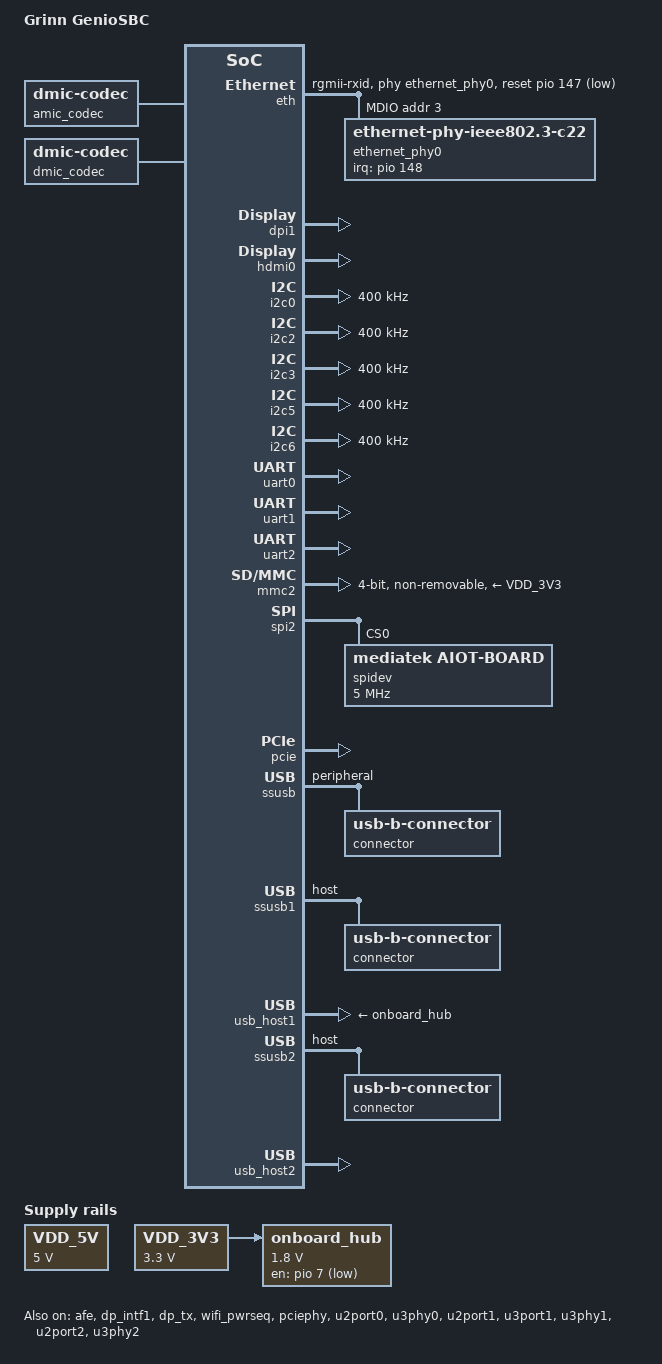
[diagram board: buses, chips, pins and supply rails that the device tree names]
// SPDX-License-Identifier: (GPL-2.0 OR MIT)
/*
 * Copyright (C) 2025 Grinn sp. z o.o..
 * Author: Grzegorz Runc <grzegorz.runc@grinn-global.com>
 */

#include <dt-bindings/usb/pd.h>

/ {
	model = "Grinn GenioSBC";

	aliases {
		serial0 = &uart0;
		ethernet0 = &eth;
	};

	chosen {
		stdout-path = "serial0:921600n8";
	};

	onboard_hub: regulator@5 {
		compatible = "regulator-fixed";
		regulator-name = "hub_reset";
		regulator-min-microvolt = <1800000>;
		regulator-max-microvolt = <1800000>;
		gpio = <&pio 7 0>; /* HUB_RESET */
		vin-supply = <&VDD_3V3>;
		enable-active-low;
	};

	VDD_5V: VDD-5V {
		compatible = "regulator-fixed";
		regulator-name = "VDD-5V";
		regulator-min-microvolt = <5000000>;
		regulator-max-microvolt = <5000000>;
		regulator-always-on;
	};

	VDD_3V3: VDD-3V3 {
		compatible = "regulator-fixed";
		regulator-name = "VDD-3V3";
		regulator-min-microvolt = <3300000>;
		regulator-max-microvolt = <3300000>;
		regulator-always-on;
	};

	amic_codec: amic-codec {
		#sound-dai-cells = <0>;
		compatible = "dmic-codec";
		num-channels = <2>;
		wakeup-delay-ms = <200>;
	};

	dmic_codec: dmic-codec {
		#sound-dai-cells = <0>;
		compatible = "dmic-codec";
		num-channels = <2>;
		wakeup-delay-ms = <30>;
	};	
};

&afe {
	memory-region = <&afe_dma_mem_reserved>;
	#sound-dai-cells = <0>;
	mediatek,dmic-iir-on;
	mediatek,dmic-clk-mono;
	status = "okay";
};

&adsp {
	memory-region = <&adsp_dma_mem_reserved>,
		<&adsp_mem_reserved>;
};

&eth {
	mediatek,mac-wol;
	phy-mode ="rgmii-rxid";
	phy-handle = <&ethernet_phy0>;
	snps,reset-gpio = <&pio 147 GPIO_ACTIVE_HIGH>;
	snps,reset-active-low;
	snps,reset-delays-us = <0 11000 200000>;
	mediatek,tx-delay-ps = <2030>;
	pinctrl-names = "default", "sleep";
	pinctrl-0 = <&eth_default_pins>;
	pinctrl-1 = <&eth_sleep_pins>;
	status = "okay";

	mdio {
		compatible = "snps,dwmac-mdio";
		#address-cells = <1>;
		#size-cells = <0>;
		ethernet_phy0: ethernet-phy@3 {
			reg = <3>;
			compatible = "ethernet-phy-ieee802.3-c22";
			eee-broken-1000t;
			interrupts-extended = <&pio 148 IRQ_TYPE_LEVEL_LOW>;
		};
	};
};

&dp_intf1 {
	status = "okay";
	mediatek,oob-hpd;

	ports {
		port {
			dp_intf1_out: endpoint {
				remote-endpoint = <&dptx_in>;
			};
		};
	};
};

&dp_tx {
	pinctrl-names = "default";
	pinctrl-0 = <&dptx_pin>;
	status = "okay";

	ports {
		#address-cells = <1>;
		#size-cells = <0>;
		port {
			dptx_in: endpoint {
				remote-endpoint = <&dp_intf1_out>;
			};
		};
	};
};

&dpi1 {
	status = "okay";
};

&hdmi0 {
	status = "okay";
};

&dsi0 {
	status = "disabled";
};

&mipi_tx0 {
	status = "disabled";
};

&pio {
	gpio-line-names =
		"RPI_GPIO0", "RPI_GPIO1", "", "", "RPI_GPIO4", "", "RPI_GPIO6", "",	// 0 - 7,
		"", "RPI_GPIO9", "RPI_GPIO10", "RPI_GPIO11", "", "", "", "",		// 8 - 15,
		"", "", "", "", "", "RPI_GPIO21", "", "RPI_GPIO23",			// 16 - 23,
		"", "", "", "", "", "", "RPI_PWM1", "",					// 24 - 31,
		"", "", "", "RPI_UTXD2", "RPI_URXD2", "", "", "",			// 32 - 39,
		"", "", "", "", "", "", "", "",						// 40 - 47,
		"", "", "", "", "", "", "", "RPI_SCL0",					// 48 - 55,
		"RPI_SDA0", "", "", "RPI_SCL2", "RPI_SDA2", "", "", "",			// 56 - 63,
		"", "", "", "", "", "RPI_GPIO69", "", "",				// 64 - 71,
		"RPI_GPIO72", "RPI_GPIO73", "RPI_GPIO74", "", "", "", "", "RPI_SPI_CS", // 72 - 79,
		"RPI_SPI_CLK", "RPI_SPI_MO", "RPI_SPI_MI", "", "", "", "", "",		// 80 - 87,
		"", "", "", "", "", "", "", "",						// 88 - 95,
		"", "", "", "", "", "", "", "",						// 96 - 103,
		"", "", "", "", "", "", "", "",						// 104 - 111,
		"", "", "", "", "", "", "", "",						// 112 - 119,
		"", "RPI_PCM_CLK", "RPI_PCM_SYNC", "RPI_PCM_DO", "RPI_PCM_DI", "", "", ""; // 120 - 127,

	aud_pins_default: audiodefault {
		pins-cmd-dat {
			pinmux = <PINMUX_GPIO101__FUNC_O_AUD_CLK_MOSI>,
				 <PINMUX_GPIO102__FUNC_O_AUD_SYNC_MOSI>,
				 <PINMUX_GPIO103__FUNC_O_AUD_DAT_MOSI0>,
				 <PINMUX_GPIO104__FUNC_O_AUD_DAT_MOSI1>,
				 <PINMUX_GPIO105__FUNC_I0_AUD_DAT_MISO0>,
				 <PINMUX_GPIO106__FUNC_I0_AUD_DAT_MISO1>,
				 <PINMUX_GPIO121__FUNC_B0_PCM_CLK>,
				 <PINMUX_GPIO122__FUNC_B0_PCM_SYNC>,
				 <PINMUX_GPIO123__FUNC_O_PCM_DO>,
				 <PINMUX_GPIO124__FUNC_I0_PCM_DI>;
		};
		pins-force-gpio-out {
			pinmux = <PINMUX_GPIO167__FUNC_B_GPIO167>;
			input-disable;
			bias-disable;
		};
	};

	dptx_pin: dptx-pin {
		pins-cmd-dat {
			pinmux = <PINMUX_GPIO46__FUNC_I0_DP_TX_HPD>;
			bias-pull-up;
		};
	};

	eth_default_pins: eth-default-pins {
		pins-txd {
			pinmux = <PINMUX_GPIO131__FUNC_O_GBE_TXD3>,
				 <PINMUX_GPIO132__FUNC_O_GBE_TXD2>,
				 <PINMUX_GPIO133__FUNC_O_GBE_TXD1>,
				 <PINMUX_GPIO134__FUNC_O_GBE_TXD0>;
			drive-strength = <MTK_DRIVE_8mA>;
		};
		pins-cc {
			pinmux = <PINMUX_GPIO139__FUNC_B0_GBE_TXC>,
				 <PINMUX_GPIO142__FUNC_O_GBE_TXEN>,
				 <PINMUX_GPIO141__FUNC_I0_GBE_RXDV>;
			drive-strength = <MTK_DRIVE_8mA>;
		};
		pins-rxd {
			pinmux = <PINMUX_GPIO135__FUNC_I0_GBE_RXD3>,
				 <PINMUX_GPIO136__FUNC_I0_GBE_RXD2>,
				 <PINMUX_GPIO137__FUNC_I0_GBE_RXD1>,
				 <PINMUX_GPIO138__FUNC_I0_GBE_RXD0>,
				 <PINMUX_GPIO140__FUNC_I0_GBE_RXC>;
			drive-strength = <MTK_DRIVE_8mA>;
			bias-pull-up = <MTK_PUPD_SET_R1R0_10>;
		};
		pins-mdio {
			pinmux = <PINMUX_GPIO143__FUNC_O_GBE_MDC>,
				 <PINMUX_GPIO144__FUNC_B1_GBE_MDIO>;
			drive-strength = <MTK_DRIVE_8mA>;
			input-enable;
		};
		pins-power {
			pinmux = <PINMUX_GPIO145__FUNC_B_GPIO145>,
				 <PINMUX_GPIO146__FUNC_B_GPIO146>,
				 <PINMUX_GPIO147__FUNC_B_GPIO147>;
			output-high;
		};
		pins-intr {
			pinmux = <PINMUX_GPIO148__FUNC_B_GPIO148>; /* GPIRQ_EQOS_PHY */
			bias-pull-up = <MTK_PUPD_SET_R1R0_10>;
			input-enable;
		};
	};

	eth_sleep_pins: eth-sleep-pins {
		pins-txd {
			pinmux = <PINMUX_GPIO131__FUNC_B_GPIO131>,
				 <PINMUX_GPIO132__FUNC_B_GPIO132>,
				 <PINMUX_GPIO133__FUNC_B_GPIO133>,
				 <PINMUX_GPIO134__FUNC_B_GPIO134>;
		};
		pins-cc {
			pinmux = <PINMUX_GPIO139__FUNC_B_GPIO139>,
				 <PINMUX_GPIO142__FUNC_B_GPIO142>,
				 <PINMUX_GPIO141__FUNC_B_GPIO141>,
				 <PINMUX_GPIO140__FUNC_B_GPIO140>;
		};
		pins-rxd {
			pinmux = <PINMUX_GPIO135__FUNC_B_GPIO135>,
				 <PINMUX_GPIO136__FUNC_B_GPIO136>,
				 <PINMUX_GPIO137__FUNC_B_GPIO137>,
				 <PINMUX_GPIO138__FUNC_B_GPIO138>;
		};
		pins-mdio {
			pinmux = <PINMUX_GPIO143__FUNC_B_GPIO143>,
				 <PINMUX_GPIO144__FUNC_B_GPIO144>;
			input-disable;
			bias-disable;
		};
	};

	uart0_pins: uart0-pins {
		pins {
			pinmux = <PINMUX_GPIO31__FUNC_O_UTXD0>,
				 <PINMUX_GPIO32__FUNC_I1_URXD0>;
			bias-pull-up;
		};
	};

	uart1_pins: uart1-pins {
		pins {
			pinmux = <PINMUX_GPIO86__FUNC_O_UTXD1>,
				 <PINMUX_GPIO87__FUNC_I1_URXD1>,
				 <PINMUX_GPIO88__FUNC_O_URTS1>,
				 <PINMUX_GPIO89__FUNC_I1_UCTS1>;
			bias-pull-up;
		};
	};

	uart2_pins: uart2-pins {
		pins {
			pinmux = <PINMUX_GPIO35__FUNC_O_UTXD2>,
				 <PINMUX_GPIO36__FUNC_I1_URXD2>;
			bias-pull-up;
		};
	};

	i2c0_pin: i2c0-pin {
		pins-bus {
			pinmux = <PINMUX_GPIO56__FUNC_B1_SDA0>,
				 <PINMUX_GPIO55__FUNC_B1_SCL0>;
			bias-pull-up = <MTK_PULL_SET_RSEL_011>;
			mediatek,drive-strength-adv = <7>;
		};
	};

	i2c2_pin: i2c2-pin {
		pins-bus {
			pinmux = <PINMUX_GPIO60__FUNC_B1_SDA2>,
				 <PINMUX_GPIO59__FUNC_B1_SCL2>;
			bias-pull-up = <MTK_PULL_SET_RSEL_011>;
			mediatek,drive-strength-adv = <7>;
		};
	};

	i2c3_pin: i2c3-pin {
		pins-bus {
			pinmux = <PINMUX_GPIO62__FUNC_B1_SDA3>,
				 <PINMUX_GPIO61__FUNC_B1_SCL3>;
			bias-pull-up = <MTK_PULL_SET_RSEL_011>;
			mediatek,drive-strength-adv = <7>;
		};
	};

	i2c5_pin: i2c5-pin {
		pins-bus {
			pinmux = <PINMUX_GPIO66__FUNC_B1_SDA5>,
				 <PINMUX_GPIO65__FUNC_B1_SCL5>;
			bias-pull-up = <MTK_PULL_SET_RSEL_011>;
			mediatek,drive-strength-adv = <7>;
		};
	};

	i2c6_pin: i2c6-pin {
		pins-bus {
			pinmux = <PINMUX_GPIO68__FUNC_B1_SDA6>,
				 <PINMUX_GPIO67__FUNC_B1_SCL6>;
			bias-pull-up = <MTK_PULL_SET_RSEL_011>;
			mediatek,drive-strength-adv = <7>;
		};
	};

	mmc2_pins_default: mmc2default {
		pins-clk {
			pinmux = <PINMUX_GPIO170__FUNC_B1_MSDC2_CLK>;
			drive-strength = <MTK_DRIVE_4mA>;
			bias-pull-down = <MTK_PUPD_SET_R1R0_10>;
		};

		pins-cmd-dat {
			pinmux = <PINMUX_GPIO169__FUNC_B1_MSDC2_CMD>,
				 <PINMUX_GPIO171__FUNC_B1_MSDC2_DAT0>,
				 <PINMUX_GPIO172__FUNC_B1_MSDC2_DAT1>,
				 <PINMUX_GPIO173__FUNC_B1_MSDC2_DAT2>,
				 <PINMUX_GPIO174__FUNC_B1_MSDC2_DAT3>;
			input-enable;
			drive-strength = <MTK_DRIVE_6mA>;
			bias-pull-up = <MTK_PUPD_SET_R1R0_01>;
		};
	};

	mmc2_pins_uhs: mmc2uhs {
		pins-clk {
			pinmux = <PINMUX_GPIO170__FUNC_B1_MSDC2_CLK>;
			drive-strength = <MTK_DRIVE_4mA>;
			bias-pull-down = <MTK_PUPD_SET_R1R0_10>;
		};

		pins-cmd-dat {
			pinmux = <PINMUX_GPIO169__FUNC_B1_MSDC2_CMD>,
				 <PINMUX_GPIO171__FUNC_B1_MSDC2_DAT0>,
				 <PINMUX_GPIO172__FUNC_B1_MSDC2_DAT1>,
				 <PINMUX_GPIO173__FUNC_B1_MSDC2_DAT2>,
				 <PINMUX_GPIO174__FUNC_B1_MSDC2_DAT3>;
			input-enable;
			drive-strength = <MTK_DRIVE_6mA>;
			bias-pull-up = <MTK_PUPD_SET_R1R0_01>;
		};
	};

	mmc2_pins_eint: dat1-eint {
		pins-dat1 {
			pinmux = <PINMUX_GPIO172__FUNC_B_GPIO172>;
			input-enable;
			bias-pull-up = <MTK_PUPD_SET_R1R0_01>;
		};
	};

	mmc2_pins_dat1: sdio-dat1 {
		pins-dat1 {
			pinmux = <PINMUX_GPIO172__FUNC_B1_MSDC2_DAT1>;
			input-enable;
			drive-strength = <MTK_DRIVE_6mA>;
			bias-pull-up = <MTK_PUPD_SET_R1R0_01>;
		};
	};

	wifi_pins_pwrseq: wifipwrseq {
		pins-wifi-enable {
			pinmux = <PINMUX_GPIO127__FUNC_B_GPIO127>;
			output-low;
		};
	};

	spi2_pins: spi2-pins {
		pins-spi {
			pinmux = <PINMUX_GPIO79__FUNC_O_SPIM2_CSB>,
				<PINMUX_GPIO80__FUNC_O_SPIM2_CLK>,
				<PINMUX_GPIO81__FUNC_B0_SPIM2_MOSI>,
				<PINMUX_GPIO82__FUNC_B0_SPIM2_MISO>;
			bias-disable;
		};
	};

	pcie_pins_default: pcie-default {
		mux {
			pinmux = <PINMUX_GPIO47__FUNC_I1_WAKEN>,
				 <PINMUX_GPIO48__FUNC_O_PERSTN>,
				 <PINMUX_GPIO49__FUNC_B1_CLKREQN>;
			bias-pull-up;
		};
	};
};

&i2c0 {
	pinctrl-names = "default";
	pinctrl-0 = <&i2c0_pin>;
	clock-frequency = <400000>;
	status = "okay";
};

&i2c2 {
	pinctrl-names = "default";
	pinctrl-0 = <&i2c2_pin>;
	clock-frequency = <400000>;
	status = "okay";
};

&i2c3 {
	pinctrl-names = "default";
	pinctrl-0 = <&i2c3_pin>;
	clock-frequency = <400000>;
	status = "okay";
};

&i2c5 {
	pinctrl-names = "default";
	pinctrl-0 = <&i2c5_pin>;
	clock-frequency = <400000>;
	status = "okay";
};

&i2c6 {
	pinctrl-names = "default";
	pinctrl-0 = <&i2c6_pin>;
	clock-frequency = <400000>;
	status = "okay";
};

&mt6359codec {
	mediatek,mic-type-0 = <1>; /* ACC */
	mediatek,mic-type-1 = <3>; /* DCC */
};

&uart0 {
	pinctrl-0 = <&uart0_pins>;
	pinctrl-names = "default";
	status = "okay";
};

&uart1 {
	pinctrl-0 = <&uart1_pins>;
	pinctrl-names = "default";
	status = "okay";
};

&uart2 {
	pinctrl-0 = <&uart2_pins>;
	pinctrl-names = "default";
	status = "okay";
};

&wifi_pwrseq {
	status = "okay";
	pinctrl-names = "default";
	pinctrl-0 = <&wifi_pins_pwrseq>;

	reset-gpios = <&pio 127 1>;
	post-power-on-delay-ms = <200>;
};

&mmc1 {
	status = "disabled";
};

&mt6359_vsim1_ldo_reg {
	regulator-max-microvolt = <1800000>;
	regulator-always-on;
};

&mmc2 {
	status = "okay";
	pinctrl-names = "default", "state_uhs", "state_eint",
					"state_dat1";
	pinctrl-0 = <&mmc2_pins_default>;
	pinctrl-1 = <&mmc2_pins_uhs>;
	pinctrl-2 = <&mmc2_pins_eint>;
	pinctrl-3 = <&mmc2_pins_dat1>;
	eint-gpios = <&pio 172 0>;
	bus-width = <4>;
	max-frequency = <200000000>;
	cap-sd-highspeed;
	sd-uhs-sdr104;
	keep-power-in-suspend;
	enable-sdio-wakeup;
	cap-sdio-async-int;
	cap-sdio-irq;
	no-mmc;
	no-sd;
	non-removable;
	vmmc-supply = <&VDD_3V3>;
	vqmmc-supply = <&VDD_3V3>;
	mmc-pwrseq = <&wifi_pwrseq>;
};

&spi2 {
	pinctrl-0 = <&spi2_pins>;
	pinctrl-names = "default";
	mediatek,pad-select = <0>;
	#address-cells = <1>;
	#size-cells = <0>;
	status = "okay";

	spidev@0 {
		compatible = "mediatek,aiot-board";
		spi-max-frequency = <5000000>;
		reg = <0>;
	};
};

&pcie {
	pinctrl-names = "default";
	pinctrl-0 = <&pcie_pins_default>;
	status = "okay";
};

&pciephy {
	status = "okay";
};

&ssusb {
	maximum-speed = "high-speed";
	dr_mode = "peripheral";
	vusb33-supply = <&mt6359_vusb_ldo_reg>;
	status = "okay";
	wakeup-source;
	mediatek,force-vbus;

	connector {
		compatible = "usb-b-connector";
		type = "micro";
	};
};

&u2port0 {
	status = "okay";
};

&u3phy0 {
	status = "okay";
};

&ssusb1 {
	vusb33-supply = <&mt6359_vusb_ldo_reg>;
	dr_mode = "host";
	mediatek,usb3-drd;
	status = "okay";
	wakeup-source;

	connector {
		compatible = "usb-b-connector";
		type = "micro";
	};
};

&u2port1 {
	status = "okay";
};

&u3port1 {
	status = "okay";
};

&u3phy1 {
	status = "okay";
};

&usb_host1 {
	status = "okay";
	vusb33-supply = <&mt6359_vusb_ldo_reg>;
	vbus-supply = <&onboard_hub>;
};

&ssusb2 {
	maximum-speed = "high-speed";
	dr_mode = "host";
	vusb33-supply = <&mt6359_vusb_ldo_reg>;
	status = "okay";
	wakeup-source;

	connector {
		compatible = "usb-b-connector";
		type = "micro";
	};
};

&u2port2 {
	status = "okay";
};

&u3phy2 {
	status = "okay";
};

&usb_host2 {
	status = "okay";
	vusb33-supply = <&mt6359_vusb_ldo_reg>;
};

&sound {
	compatible = "mediatek,mt8390-evk";
	model = "mt8390-evk";
	pinctrl-names = "default";
	pinctrl-0 = <&aud_pins_default>;
	status = "okay";

	dai-link-0 {
		sound-dai = <&afe>;
		dai-link-name = "ETDM3_OUT_BE";
		status = "okay";

		codec-0 {
			sound-dai = <&hdmi0>;
		};
	};

	dai-link-1 {
		sound-dai = <&afe>;
		dai-link-name = "DPTX_BE";
		status = "okay";

		codec-0 {
			sound-dai = <&dp_tx>;
		};
	};
};
